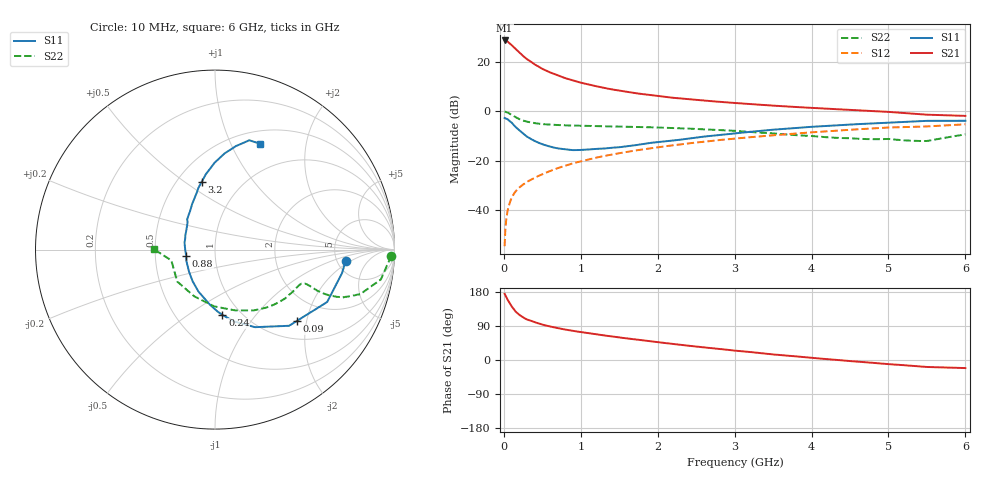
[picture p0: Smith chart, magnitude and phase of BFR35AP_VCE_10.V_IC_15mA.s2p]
! Infineon Technologies  Discrete & RF Semiconductors
! BFR35AP
! VCE =  10. V,  IC =  15 mA
! Common Emitter S-Parameters:  Nov 2015
# GHz  S  MA  R  50
!  f  S11  S21  S12  S22
! GHz  MAG  ANG  MAG  ANG  MAG  ANG  MAG  ANG
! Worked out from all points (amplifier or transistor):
!   210 points, 10 MHz to 6 GHz, reference 50 ohm
!   highest |S21| = 28.5 dB at 10 MHz (marker M1)
!   |S21| within 3 dB of that: start of sweep to 138.6 MHz
!   unconditionally stable (mu >= 1): 533.1 MHz to 2.689 GHz
!   at 185 MHz: K = 0.62, MSG = 27.7 dB, |S12| = -31.3 dB
!   at 1.52 GHz: K = 1.08, MAG = 10.7 dB, |S12| = -16.8 dB
!   at 6 GHz: K = 0.88, MSG = 1.7 dB, |S12| = -5.3 dB
!   S11 on the Smith chart (normalised r, x): 10 MHz: 5.96, -1.62; 90 MHz: 1.39, -1.75; 240 MHz: 0.82, -0.69; 880 MHz: 0.72, -0.06; 3.2 GHz: 0.66, +0.58; 6 GHz: 0.65, +1.29
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0.01  0.7302 -5.0  26.65 174.8  0.0019 85.9  0.9835 -2.0
0.02  0.7201 -10.4  26.5 170.4  0.0042 80.3  0.9683 -4.2
0.05  0.6899 -25.0  25.31 158.5  0.0101 79.1  0.939 -10.2
0.09  0.6047 -41.2  22.25 145.4  0.0162 71.8  0.8635 -15.6
0.1  0.5921 -45.8  21.7 141.6  0.0178 70.8  0.8459 -17.1
0.15  0.4864 -62.7  18.16 128.0  0.0239 66.4  0.7587 -20.6
0.2  0.4134 -75.2  15.27 119.3  0.0287 65.6  0.6938 -21.8
0.24  0.3663 -83.5  13.38 114.0  0.0323 65.1  0.6564 -22.0
0.26  0.3455 -87.6  12.57 111.4  0.034 65.1  0.6406 -22.0
0.3  0.3073 -95.5  11.22 106.9  0.0374 65.6  0.6145 -21.9
0.4  0.2511 -111.6  8.78 99.6  0.0453 66.9  0.573 -21.1
0.5  0.2159 -125.3  7.134 93.3  0.0538 67.7  0.5486 -20.7
0.7  0.1783 -149.2  5.257 84.1  0.071 68.6  0.5262 -21.0
0.88  0.1651 -167.0  4.233 77.5  0.0872 68.5  0.5138 -22.1
1.02  0.1658 -179.3  3.695 73.1  0.0992 68.3  0.5081 -23.3
1.4  0.1837 154.0  2.756 62.2  0.1328 66.3  0.4945 -27.9
2.02  0.2394 128.6  2.005 46.6  0.1888 61.5  0.4676 -37.2
3.1  0.3703 103.0  1.427 23.0  0.2893 50.8  0.3911 -60.0
3.2  0.3831 101.3  1.391 21.1  0.2985 49.6  0.3811 -62.7
4.1  0.4943 89.0  1.144 4.0  0.3837 39.3  0.3063 -95.0
5.1  0.5976 77.3  0.943 -12.2  0.4727 25.6  0.2663 -144.5
6  0.6406 67.2  0.804 -21.3  0.5432 14.8  0.3414 179.6
